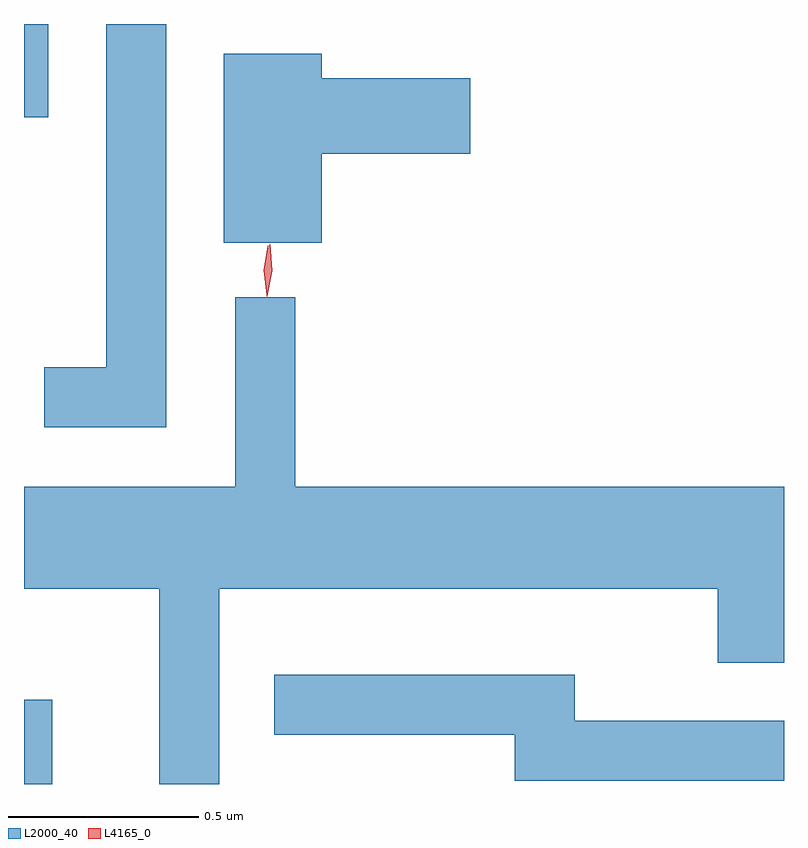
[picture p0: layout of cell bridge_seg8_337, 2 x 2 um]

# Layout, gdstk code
import gdstk
lib = gdstk.Library(unit=1e-6, precision=1e-09)
def R(c, l, rs):  # rectangles x0, y0, x1, y1
    for r in rs: c.add(gdstk.rectangle(r[:2], r[2:], *l))
def P(c, l, *ps):  # polygons
    for p in ps: c.add(gdstk.Polygon(p, *l))
L2000_40 = (2000, 40)
L4165_0 = (4165, 0)

bridge_seg8_337 = lib.new_cell('bridge_seg8_337')
R(bridge_seg8_337, L2000_40, [(870.36,1882.522,870.434,1882.744), (870.36,1884.276,870.424,1884.522)])
P(bridge_seg8_337, L2000_40, [(870.734,1884.522),(870.576,1884.522),(870.576,1883.619),(870.413,1883.619),(870.413,1883.461),(870.734,1883.461)],
  [(871.144,1884.181),(871.534,1884.181),(871.534,1884.379),(871.144,1884.379),(871.144,1884.444),(870.886,1884.444),(870.886,1883.946),(871.144,1883.946)],
  [(870.874,1883.036),(872.186,1883.036),(872.186,1882.841),(872.36,1882.841),(872.36,1883.304),(871.074,1883.304),(871.074,1883.803),(870.916,1883.803),(870.916,1883.304),(870.36,1883.304),(870.36,1883.036),(870.716,1883.036),(870.716,1882.522),(870.874,1882.522)],
  [(872.36,1882.689),(871.809,1882.689),(871.809,1882.809),(871.018,1882.809),(871.018,1882.651),(871.651,1882.651),(871.651,1882.531),(872.36,1882.531)])
P(bridge_seg8_337, L4165_0, [(870.999,1883.808),(870.999,1883.808),(870.991,1883.874),(871.002,1883.939),(871.002,1883.939),(871.003,1883.939),(871.011,1883.874),(871,1883.808)],
  [(870.999,1883.805),(870.999,1883.805),(870.993,1883.874),(871.007,1883.942),(871.007,1883.942),(871.008,1883.942),(871.013,1883.873),(871,1883.805)])

lib.write_gds('bridge_seg8_337.gds')
